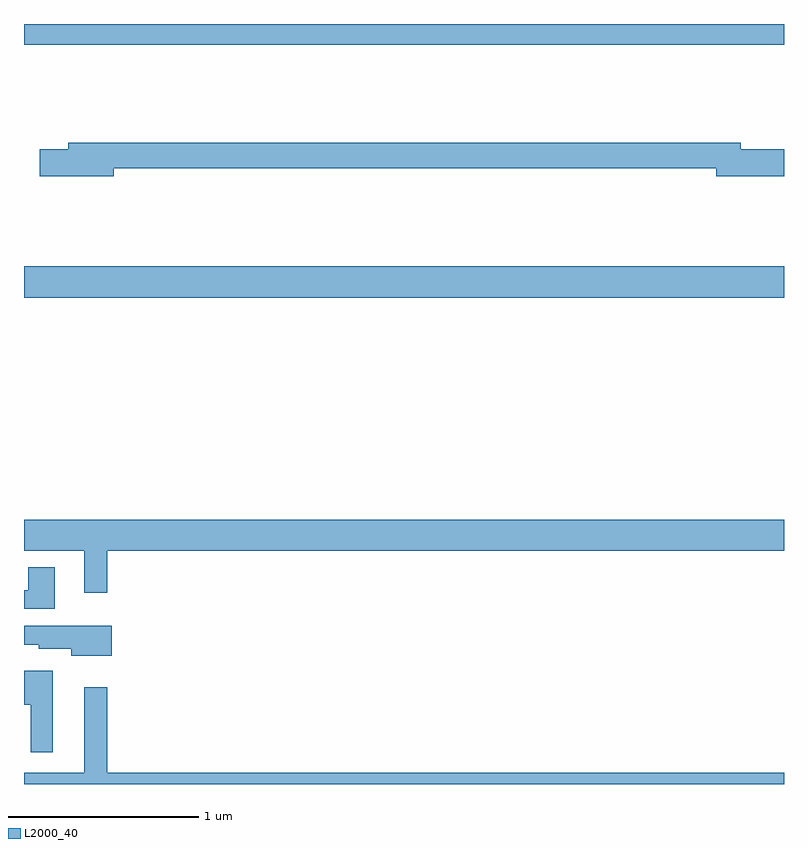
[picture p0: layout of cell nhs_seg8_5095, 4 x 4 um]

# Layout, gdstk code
import gdstk
lib = gdstk.Library(unit=1e-6, precision=1e-09)
def R(c, l, rs):  # rectangles x0, y0, x1, y1
    for r in rs: c.add(gdstk.rectangle(r[:2], r[2:], *l))
def P(c, l, *ps):  # polygons
    for p in ps: c.add(gdstk.Polygon(p, *l))
L2000_40 = (2000, 40)

nhs_seg8_5095 = lib.new_cell('nhs_seg8_5095')
R(nhs_seg8_5095, L2000_40, [(417,1156.46,421,1156.624), (417,1157.792,421,1157.9)])
P(nhs_seg8_5095, L2000_40, [(417.472,1157.14),(420.644,1157.14),(420.644,1157.098),(421,1157.098),(421,1157.24),(420.772,1157.24),(420.772,1157.276),(417.233,1157.276),(417.233,1157.24),(417.084,1157.24),(417.084,1157.098),(417.472,1157.098)],
  [(417.439,1155.128),(421,1155.128),(421,1155.292),(417,1155.292),(417,1155.128),(417.317,1155.128),(417.317,1154.907),(417.439,1154.907)],
  [(417.163,1155.04),(417.023,1155.04),(417.023,1154.919),(417,1154.919),(417,1154.823),(417.163,1154.823)],
  [(417.463,1154.734),(417,1154.734),(417,1154.633),(417.078,1154.633),(417.078,1154.612),(417.248,1154.612),(417.248,1154.576),(417.463,1154.576)],
  [(417.151,1154.497),(417,1154.497),(417,1154.318),(417.035,1154.318),(417.035,1154.067),(417.151,1154.067)],
  [(421,1153.96),(417.439,1153.96),(417.439,1154.41),(417.317,1154.41),(417.317,1153.96),(417,1153.96),(417,1153.9),(421,1153.9)])

lib.write_gds('nhs_seg8_5095.gds')
